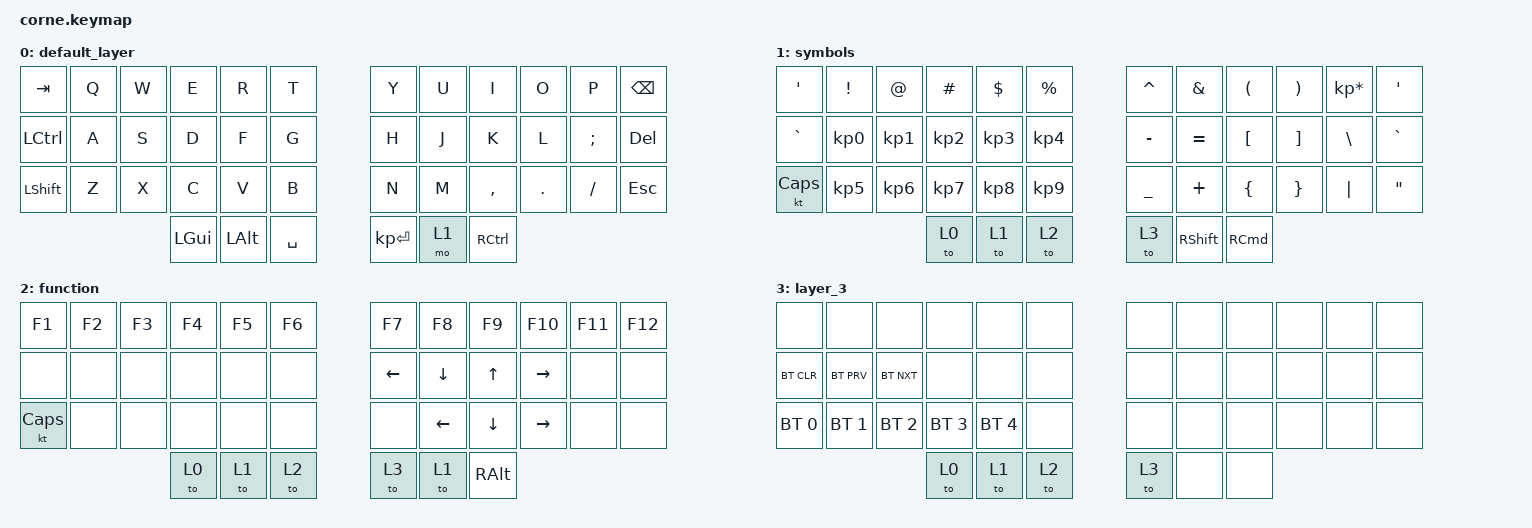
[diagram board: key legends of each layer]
/*
 * Copyright (c) 2020 The ZMK Contributors
 *
 * SPDX-License-Identifier: MIT
 */

#include <behaviors.dtsi>
#include <dt-bindings/zmk/bt.h>
#include <dt-bindings/zmk/keys.h>
#include <dt-bindings/zmk/keys.h>

/ {
    combos {
        compatible = "zmk,combos";
    };

    keymap {
        compatible = "zmk,keymap";

        default_layer {
            bindings = <
  &kp TAB  &kp Q  &kp W     &kp E         &kp R      &kp T           &kp Y  &kp U              &kp I    &kp O     &kp P    &kp BSPC
&kp LCTRL  &kp A  &kp S     &kp D         &kp F      &kp G           &kp H  &kp J              &kp K    &kp L  &kp SEMI  &kp DELETE
&kp LSHFT  &kp Z  &kp X     &kp C         &kp V      &kp B           &kp N  &kp M          &kp COMMA  &kp DOT  &kp FSLH     &kp ESC
                         &kp LGUI  &kp LEFT_ALT  &kp SPACE    &kp KP_ENTER  &mo 1  &kp RIGHT_CONTROL
            >;
        };

        symbols {
            bindings = <
&kp APOSTROPHE         &kp EXCL           &kp AT         &kp HASH         &kp DLLR        &kp PRCNT    &kp CARET         &kp AMPS  &kp LEFT_PARENTHESIS  &kp RIGHT_PARENTHESIS  &kp KP_MULTIPLY     &kp APOSTROPHE
     &kp GRAVE  &kp KP_NUMBER_0  &kp KP_NUMBER_1  &kp KP_NUMBER_2  &kp KP_NUMBER_3  &kp KP_NUMBER_4    &kp MINUS        &kp EQUAL              &kp LBKT               &kp RBKT         &kp BSLH          &kp GRAVE
  &kt CAPSLOCK  &kp KP_NUMBER_5  &kp KP_NUMBER_6  &kp KP_NUMBER_7  &kp KP_NUMBER_8  &kp KP_NUMBER_9    &kp UNDER         &kp PLUS              &kp LBRC               &kp RBRC         &kp PIPE  &kp DOUBLE_QUOTES
                                                            &to 0            &to 1            &to 2        &to 3  &kp RIGHT_SHIFT     &kp RIGHT_COMMAND
            >;
        };

        function {
            bindings = <
      &kp F1  &kp F2  &kp F3  &kp F4  &kp F5  &kp F6      &kp F7          &kp F8          &kp F9          &kp F10  &kp F11  &kp F12
       &none   &none   &none   &none   &none   &none    &kp LEFT        &kp DOWN          &kp UP        &kp RIGHT    &none    &none
&kt CAPSLOCK   &none   &none   &none   &none   &none       &none  &kp LEFT_ARROW  &kp DOWN_ARROW  &kp RIGHT_ARROW    &none    &none
                               &to 0   &to 1   &to 2       &to 3           &to 1        &kp RALT
            >;
        };

        layer_3 {
            bindings = <
       &none         &none         &none         &none         &none  &none    &none  &none  &none  &none  &none  &none
  &bt BT_CLR    &bt BT_PRV    &bt BT_NXT         &none         &none  &none    &none  &none  &none  &none  &none  &none
&bt BT_SEL 0  &bt BT_SEL 1  &bt BT_SEL 2  &bt BT_SEL 3  &bt BT_SEL 4  &none    &none  &none  &none  &none  &none  &none
                                                 &to 0         &to 1  &to 2    &to 3  &none  &none
            >;
        };
    };
};
